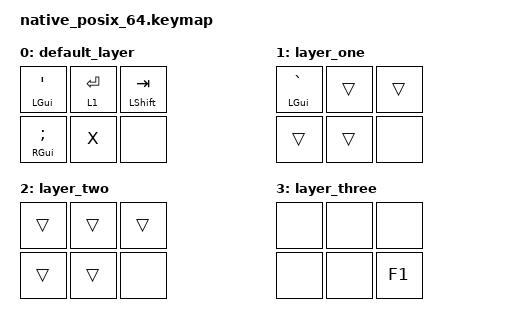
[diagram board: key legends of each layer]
#include <dt-bindings/zmk/keys.h>
#include <behaviors.dtsi>
#include <dt-bindings/zmk/kscan_mock.h>

&lt {
    flavor = "balanced";
    tapping-term-ms = <175>;
    quick-tap-ms = <125>;
};

/ {
    behaviors {
        ht: hold_tap {
            label = "hold_tap";
            compatible = "zmk,behavior-hold-tap";
            #binding-cells = <2>;
            flavor = "balanced";
            tapping-term-ms = <175>;
            quick-tap-ms = <125>;
            bindings = <&kp>, <&kp>;
        };
    };
    combos {
        compatible = "zmk,combos";
        maintenance {
            timeout-ms = <100>;
            key-positions = <0 3>;
            bindings = <&mo 3>;
            layers = <0 1 2>;
        };
    };
    keymap {
        compatible = "zmk,keymap";
        default_layer {
            bindings = <
                &ht LGUI SQT &lt 1 RET &ht LSHFT TAB
                &ht RGUI SEMI &kp X &none
            >;
        };
        layer_one {
            bindings = <
                &ht LGUI GRAVE &trans &trans
                &trans &trans &none
            >;
        };
        layer_two {
            bindings = <
                &trans &trans &trans
                &trans &trans &none
            >;
        };
        layer_three {
            bindings = <
                &none &none &none
                &none &none &kp F1
            >;
        };
    };
};

&kscan {
    rows = <2>;
    columns = <3>;
    events = <
        // Quote and Shift+quote.
        ZMK_MOCK_PRESS(0,0,40) ZMK_MOCK_RELEASE(0,0,300)
        ZMK_MOCK_PRESS(0,2,200) ZMK_MOCK_PRESS(0,0,40)
        ZMK_MOCK_RELEASE(0,0,40) ZMK_MOCK_RELEASE(0,2,300)

        // L1 grave, including a quick layer chord, and Shift+grave.
        ZMK_MOCK_PRESS(0,1,200) ZMK_MOCK_PRESS(0,0,40)
        ZMK_MOCK_RELEASE(0,0,40) ZMK_MOCK_RELEASE(0,1,300)
        ZMK_MOCK_PRESS(0,1,35) ZMK_MOCK_PRESS(0,0,40)
        ZMK_MOCK_RELEASE(0,0,50) ZMK_MOCK_RELEASE(0,1,300)
        ZMK_MOCK_PRESS(0,2,200) ZMK_MOCK_PRESS(0,1,200)
        ZMK_MOCK_PRESS(0,0,40) ZMK_MOCK_RELEASE(0,0,40)
        ZMK_MOCK_RELEASE(0,1,40) ZMK_MOCK_RELEASE(0,2,300)

        // GUI hold on L0 and L1.
        ZMK_MOCK_PRESS(0,0,200) ZMK_MOCK_PRESS(1,1,40)
        ZMK_MOCK_RELEASE(1,1,40) ZMK_MOCK_RELEASE(0,0,300)
        ZMK_MOCK_PRESS(0,1,200) ZMK_MOCK_PRESS(0,0,200)
        ZMK_MOCK_PRESS(1,1,40) ZMK_MOCK_RELEASE(1,1,40)
        ZMK_MOCK_RELEASE(0,0,40) ZMK_MOCK_RELEASE(0,1,300)

        // Both outer thumbs still activate maintenance, on L0 and L1.
        ZMK_MOCK_PRESS(0,0,20) ZMK_MOCK_PRESS(1,0,150)
        ZMK_MOCK_PRESS(1,2,40) ZMK_MOCK_RELEASE(1,2,40)
        ZMK_MOCK_RELEASE(1,0,40) ZMK_MOCK_RELEASE(0,0,300)
        ZMK_MOCK_PRESS(0,1,200)
        ZMK_MOCK_PRESS(0,0,20) ZMK_MOCK_PRESS(1,0,150)
        ZMK_MOCK_PRESS(1,2,40) ZMK_MOCK_RELEASE(1,2,40)
        ZMK_MOCK_RELEASE(1,0,40) ZMK_MOCK_RELEASE(0,0,40)
        ZMK_MOCK_RELEASE(0,1,300)
    >;
};
